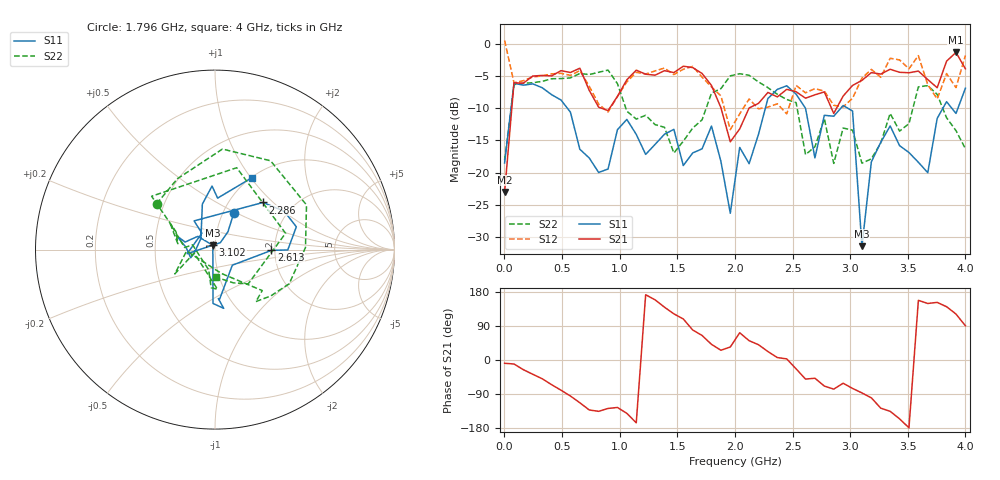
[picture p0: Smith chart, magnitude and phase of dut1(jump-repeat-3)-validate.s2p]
!Created with skrf (http://scikit-rf.org).
# GHz S DB R 50.0
!freq dBS11 angS11 dBS21 angS21 dBS12 angS12 dBS22 angS22
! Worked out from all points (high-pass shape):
!   50 points, 1 MHz to 4 GHz, reference 50 ohm
!   highest |S21| = -1.37 dB at 3.918 GHz (marker M1); lowest = -23.0 dB at 1 MHz (marker M2)
!   |S21| within 3 dB of the highest: 1.481 GHz to 1.691 GHz (209.7 MHz wide, 13.2 % of centre); 3.804 GHz to end of sweep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
!   lowest |S11| = -31.4 dB at 3.102 GHz (marker M3), VSWR 1.06, Z = 48.8 + j2.35 ohm
!   |S11| at or under -10 dB: 544.6 MHz to 2.264 GHz (1.72 GHz wide, 122 % of centre); 2.611 GHz to 2.92 GHz (308.9 MHz wide, 11.2 % of centre); 2.977 GHz to 3.806 GHz (828.7 MHz wide, 24.4 % of centre)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
!   |S22| runs from -18.6 to -4.1 dB; largest |S21 - S12| = 0.99
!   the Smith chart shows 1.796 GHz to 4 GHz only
!   S11 on the Smith chart (normalised r, x): 1.796 GHz: 1.12, +0.48; 2.286 GHz: 1.42, +0.87; 2.613 GHz: 1.92, -0.02; 3.102 GHz: 0.98, +0.05; 4 GHz: 1.01, +1.01
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0.001  -18.50 -135.0  -23.02 -8.7  0.48 -7.8  -18.08 -72.5
0.08261224  -6.16 162.9  -6.09 -10.6  -6.08 -11.4  -6.35 167.9
0.4906735  -8.75 56.0  -4.20 -79.7  -4.62 -73.3  -5.43 90.9
0.7355102  -17.74 -70.2  -7.26 -131.9  -6.62 -144.7  -4.81 9.1
0.8987347  -19.45 99.8  -10.39 -127.8  -10.61 -135.5  -4.12 -44.4
1.061959  -11.76 7.1  -5.62 -140.8  -5.94 -143.1  -10.48 -79.1
1.388408  -14.05 -118.8  -4.20 139.4  -3.80 147.7  -12.98 -137.8
1.633245  -16.96 140.6  -3.72 79.2  -3.55 80.1  -13.11 177.9
1.796469  -12.79 62.8  -6.50 41.3  -6.73 51.8  -7.67 142.0
1.959694  -26.31 52.4  -15.23 34.3  -13.34 41.0  -5.01 85.8
2.041306  -16.10 -171.6  -13.23 71.9  -10.90 53.7  -4.68 58.0
2.286143  -8.52 44.4  -7.58 22.3  -9.86 22.3  -6.84 -24.7
2.612592  -10.04 -0.8  -8.47 -50.4  -7.64 -36.2  -17.22 -74.8
2.694204  -17.73 -42.0  -7.95 -48.1  -6.98 -31.1  -16.00 -177.1
3.020653  -10.45 -92.1  -6.49 -75.0  -8.48 -78.9  -13.42 -95.8
3.102265  -31.41 116.6  -5.71 -86.9  -5.36 -102.9  -18.55 -107.2
3.183878  -18.34 142.4  -4.50 -99.9  -4.01 -100.1  -17.87 168.1
3.347102  -12.77 160.0  -3.99 -135.4  -2.29 -149.5  -10.83 150.0
3.591939  -18.40 -168.7  -4.27 157.4  -1.87 165.6  -6.71 139.9
3.673551  -20.02 141.9  -5.58 149.2  -6.39 149.7  -6.52 75.2
3.918388  -10.84 87.1  -1.37 121.3  -6.83 128.0  -13.50 -61.2
4  -6.93 62.8  -3.92 90.4  -1.85 93.2  -16.30 -88.5
